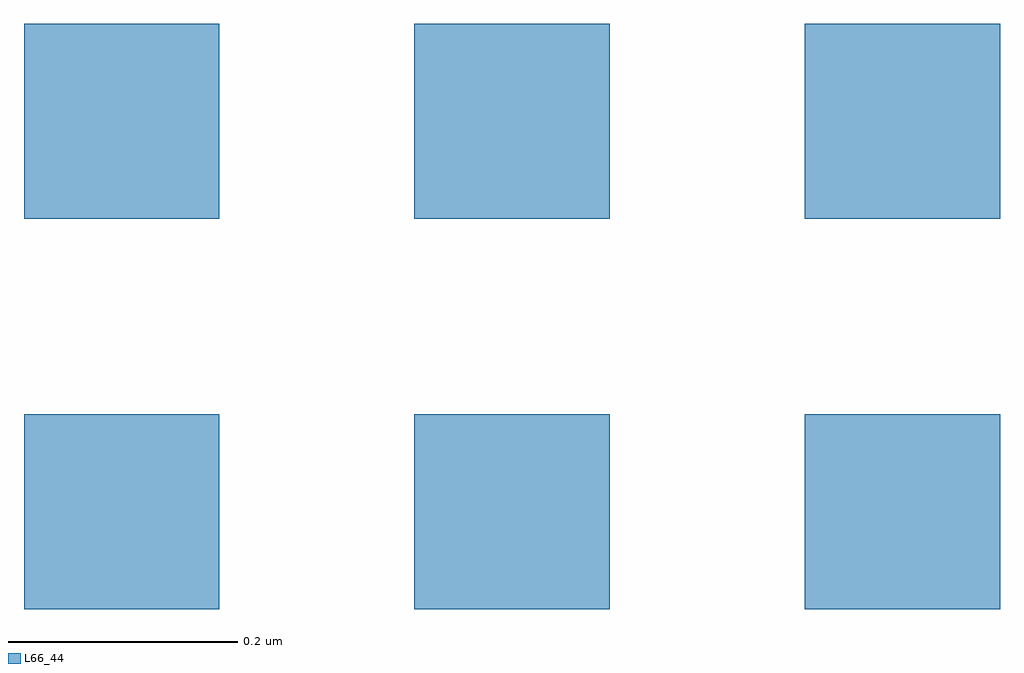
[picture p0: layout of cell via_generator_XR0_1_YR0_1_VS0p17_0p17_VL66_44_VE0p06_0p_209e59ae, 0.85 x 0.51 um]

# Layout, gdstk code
import gdstk
lib = gdstk.Library(unit=1e-6, precision=1e-09)
def R(c, l, rs):  # rectangles x0, y0, x1, y1
    for r in rs: c.add(gdstk.rectangle(r[:2], r[2:], *l))
L66_44 = (66, 44)

rectangle_gdsfactorypcom = lib.new_cell('rectangle_gdsfactorypcomponentspshapesprectangle_S0p17__b4994c9c')
R(rectangle_gdsfactorypcom, L66_44, [(0,0,0.17,0.17)])

via_generator_xr0_1_yr0_ = lib.new_cell('via_generator_XR0_1_YR0_1_VS0p17_0p17_VL66_44_VE0p06_0p_209e59ae')
r = gdstk.Reference(rectangle_gdsfactorypcom, (0.075,0.245)); r.repetition = gdstk.Repetition(3, 2, v1=(0.34,0), v2=(0,0.34)); via_generator_xr0_1_yr0_.add(r)

lib.write_gds('via_generator_XR0_1_YR0_1_VS0p17_0p17_VL66_44_VE0p06_0p_209e59ae.gds')
